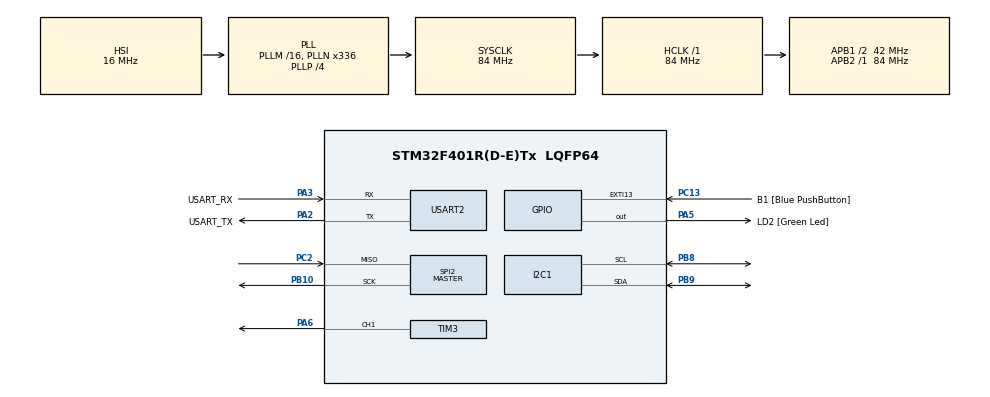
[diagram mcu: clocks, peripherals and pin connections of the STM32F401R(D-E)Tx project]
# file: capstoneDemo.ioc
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FREERTOS.Queues01=tempQueue,1,8,1,Dynamic,NULL,NULL;fanQueue,1,1,1,Dynamic,NULL,NULL
FREERTOS.Tasks01=defaultTask,24,128,StartDefaultTask,Default,NULL,Dynamic,NULL,NULL;readTempSensor,24,256,readTemp,Default,NULL,Dynamic,NULL,NULL;sysControlTask,32,256,sysControl,Default,NULL,Dynamic,NULL,NULL;setFanSpeed,24,192,setFan,Default,NULL,Dynamic,NULL,NULL
Mcu.Family=STM32F4
Mcu.Name=STM32F401R(D-E)Tx
Mcu.Package=LQFP64
NVIC.PriorityGroup=NVIC_PRIORITYGROUP_4
PA13.GPIO_Label=TMS
PA13.Mode=Trace_Asynchronous_SW
PA13.Signal=SYS_JTMS-SWDIO
PA14.GPIO_Label=TCK
PA14.Mode=Trace_Asynchronous_SW
PA14.Signal=SYS_JTCK-SWCLK
PA2.GPIO_Label=USART_TX
PA2.GPIO_Mode=GPIO_MODE_AF_PP
PA2.GPIO_PuPd=GPIO_NOPULL
PA2.GPIO_Speed=GPIO_SPEED_FREQ_LOW
PA2.Mode=Asynchronous
PA2.Signal=USART2_TX
PA3.GPIO_Label=USART_RX
PA3.GPIO_Mode=GPIO_MODE_AF_PP
PA3.GPIO_PuPd=GPIO_NOPULL
PA3.GPIO_Speed=GPIO_SPEED_FREQ_LOW
PA3.Mode=Asynchronous
PA3.Signal=USART2_RX
PA5.GPIO_Label=LD2 [Green Led]
PA5.GPIO_Mode=GPIO_MODE_OUTPUT_PP
PA5.GPIO_PuPd=GPIO_NOPULL
PA5.GPIO_Speed=GPIO_SPEED_FREQ_LOW
PA5.Signal=GPIO_Output
PA6.Signal=S_TIM3_CH1
PB10.Mode=RX_Only_Simplex_Unidirect_Master
PB10.Signal=SPI2_SCK
PB3.GPIO_Label=SWO
PB3.Mode=Trace_Asynchronous_SW
PB3.Signal=SYS_JTDO-SWO
PB8.Mode=I2C
PB8.Signal=I2C1_SCL
PB9.Mode=I2C
PB9.Signal=I2C1_SDA
PC13-ANTI_TAMP.GPIO_Label=B1 [Blue PushButton]
PC13-ANTI_TAMP.GPIO_ModeDefaultEXTI=GPIO_MODE_IT_FALLING
PC13-ANTI_TAMP.GPIO_PuPd=GPIO_NOPULL
PC13-ANTI_TAMP.Signal=GPXTI13
PC14-OSC32_IN.Mode=LSE-External-Oscillator
PC14-OSC32_IN.Signal=RCC_OSC32_IN
PC15-OSC32_OUT.Mode=LSE-External-Oscillator
PC15-OSC32_OUT.Signal=RCC_OSC32_OUT
PC2.Mode=RX_Only_Simplex_Unidirect_Master
PC2.Signal=SPI2_MISO
PH0\ -\ OSC_IN.Mode=HSE-External-Clock-Source
PH0\ -\ OSC_IN.Signal=RCC_OSC_IN
PH1\ -\ OSC_OUT.Mode=HSE-External-Clock-Source
PH1\ -\ OSC_OUT.Signal=RCC_OSC_OUT
ProjectManager.HeapSize=0x200
ProjectManager.StackSize=0x400
ProjectManager.TargetToolchain=STM32CubeIDE
RCC.48MHZClocksFreq_Value=48000000
RCC.AHBFreq_Value=84000000
RCC.APB1CLKDivider=RCC_HCLK_DIV2
RCC.APB1Freq_Value=42000000
RCC.APB1TimFreq_Value=84000000
RCC.APB2Freq_Value=84000000
RCC.APB2TimFreq_Value=84000000
RCC.CortexFreq_Value=84000000
RCC.HCLKFreq_Value=84000000
RCC.HSE_VALUE=8000000
RCC.HSI_VALUE=16000000
RCC.PLLN=336
RCC.PLLP=RCC_PLLP_DIV4
RCC.PLLQ=7
RCC.SYSCLKFreq_VALUE=84000000
RCC.SYSCLKSource=RCC_SYSCLKSOURCE_PLLCLK
RCC.VCOOutputFreq_Value=336000000
SH.S_TIM3_CH1.0=TIM3_CH1,PWM Generation1 CH1
SPI2.Direction=SPI_DIRECTION_2LINES_RXONLY
SPI2.Mode=SPI_MODE_MASTER
SPI2.VirtualType=VM_MASTER
TIM3.Channel-PWM\ Generation1\ CH1=TIM_CHANNEL_1
TIM3.Period=999
TIM3.Prescaler=83
USART2.VirtualMode=VM_ASYNC
VP_FREERTOS_VS_CMSIS_V2.Mode=CMSIS_V2
VP_TIM3_VS_ClockSourceINT.Mode=Internal
board=NUCLEO-F401RE

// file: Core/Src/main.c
/* USER CODE BEGIN Header */
/**
  ******************************************************************************
  * @file           : main.c
  * @brief          : Main program body
  ******************************************************************************
  * @attention
  *
  * Copyright (c) 2026 STMicroelectronics.
  * All rights reserved.
  *
  * This software is licensed under terms that can be found in the LICENSE file
  * in the root directory of this software component.
  * If no LICENSE file comes with this software, it is provided AS-IS.
  *
  ******************************************************************************
  */
/* USER CODE END Header */
#include "main.h"
#include "cmsis_os.h"

/* USER CODE BEGIN Includes */
#include "smartRack.h"
#include <stdio.h>

/* USER CODE END Includes */

I2C_HandleTypeDef hi2c1;

SPI_HandleTypeDef hspi2;

TIM_HandleTypeDef htim3;

UART_HandleTypeDef huart2;

/* Definitions for defaultTask */
osThreadId_t defaultTaskHandle;
const osThreadAttr_t defaultTask_attributes = {
  .name = "defaultTask",
  .stack_size = 128 * 4,
  .priority = (osPriority_t) osPriorityNormal,
};
/* Definitions for readTempSensor */
osThreadId_t readTempSensorHandle;
const osThreadAttr_t readTempSensor_attributes = {
  .name = "readTempSensor",
  .stack_size = 256 * 4,
  .priority = (osPriority_t) osPriorityNormal,
};
/* Definitions for sysControlTask */
osThreadId_t sysControlTaskHandle;
const osThreadAttr_t sysControlTask_attributes = {
  .name = "sysControlTask",
  .stack_size = 256 * 4,
  .priority = (osPriority_t) osPriorityAboveNormal,
};
/* Definitions for setFanSpeed */
osThreadId_t setFanSpeedHandle;
const osThreadAttr_t setFanSpeed_attributes = {
  .name = "setFanSpeed",
  .stack_size = 192 * 4,
  .priority = (osPriority_t) osPriorityNormal,
};
/* Definitions for tempQueue */
osMessageQueueId_t tempQueueHandle;
const osMessageQueueAttr_t tempQueue_attributes = {
  .name = "tempQueue"
};
/* Definitions for fanQueue */
osMessageQueueId_t fanQueueHandle;
const osMessageQueueAttr_t fanQueue_attributes = {
  .name = "fanQueue"
};
/* USER CODE BEGIN PV */
osMutexId_t i2cMutexHandle;

/* USER CODE END PV */

void SystemClock_Config(void);
static void MX_GPIO_Init(void);
static void MX_I2C1_Init(void);
static void MX_SPI2_Init(void);
static void MX_TIM3_Init(void);
static void MX_USART2_UART_Init(void);
void StartDefaultTask(void *argument);
void readTemp(void *argument);
void sysControl(void *argument);
void setFan(void *argument);

int main(void)
{

  /* MCU Configuration--------------------------------------------------------*/

  /* Reset of all peripherals, Initializes the Flash interface and the Systick. */
  HAL_Init();

  /* Configure the system clock */
  SystemClock_Config();

  /* Initialize all configured peripherals */
  MX_GPIO_Init();
  MX_I2C1_Init();
  MX_SPI2_Init();
  MX_TIM3_Init();
  MX_USART2_UART_Init();
  /* USER CODE BEGIN 2 */
  //Start TIM3 PWM prior to scheduler start
  HAL_TIM_PWM_Start(&htim3, TIM_CHANNEL_1);

  /* USER CODE END 2 */

  /* Init scheduler */
  osKernelInitialize();

  /* USER CODE BEGIN RTOS_MUTEX */
  /* add mutexes, ... */
  i2cMutexHandle = osMutexNew(NULL);

  if (i2cMutexHandle == NULL) {
      Error_Handler();
  }
  /* USER CODE END RTOS_MUTEX */

  /* Create the queue(s) */
  /* creation of tempQueue */
  tempQueueHandle = osMessageQueueNew (1, sizeof(tempData_t), &tempQueue_attributes);

  /* creation of fanQueue */
  fanQueueHandle = osMessageQueueNew (1, sizeof(fanCommand_t), &fanQueue_attributes);

  /* Create the thread(s) */
  /* creation of defaultTask */
  defaultTaskHandle = osThreadNew(StartDefaultTask, NULL, &defaultTask_attributes);

  /* creation of readTempSensor */
  readTempSensorHandle = osThreadNew(readTemp, NULL, &readTempSensor_attributes);

  /* creation of sysControlTask */
  sysControlTaskHandle = osThreadNew(sysControl, NULL, &sysControlTask_attributes);

  /* creation of setFanSpeed */
  setFanSpeedHandle = osThreadNew(setFan, NULL, &setFanSpeed_attributes);

  /* Start scheduler */
  osKernelStart();

  /* We should never get here as control is now taken by the scheduler */

  /* Infinite loop */
  while (1)
  {

  }
}

void SystemClock_Config(void)
{
  RCC_OscInitTypeDef RCC_OscInitStruct = {0};
  RCC_ClkInitTypeDef RCC_ClkInitStruct = {0};

  /** Configure the main internal regulator output voltage
  */
  __HAL_RCC_PWR_CLK_ENABLE();
  __HAL_PWR_VOLTAGESCALING_CONFIG(PWR_REGULATOR_VOLTAGE_SCALE2);

  /** Initializes the RCC Oscillators according to the specified parameters
  * in the RCC_OscInitTypeDef structure.
  */
  RCC_OscInitStruct.OscillatorType = RCC_OSCILLATORTYPE_HSI;
  RCC_OscInitStruct.HSIState = RCC_HSI_ON;
  RCC_OscInitStruct.HSICalibrationValue = RCC_HSICALIBRATION_DEFAULT;
  RCC_OscInitStruct.PLL.PLLState = RCC_PLL_ON;
  RCC_OscInitStruct.PLL.PLLSource = RCC_PLLSOURCE_HSI;
  RCC_OscInitStruct.PLL.PLLM = 16;
  RCC_OscInitStruct.PLL.PLLN = 336;
  RCC_OscInitStruct.PLL.PLLP = RCC_PLLP_DIV4;
  RCC_OscInitStruct.PLL.PLLQ = 7;
  if (HAL_RCC_OscConfig(&RCC_OscInitStruct) != HAL_OK)
  {
    Error_Handler();
  }

  /** Initializes the CPU, AHB and APB buses clocks
  */
  RCC_ClkInitStruct.ClockType = RCC_CLOCKTYPE_HCLK|RCC_CLOCKTYPE_SYSCLK
                              |RCC_CLOCKTYPE_PCLK1|RCC_CLOCKTYPE_PCLK2;
  RCC_ClkInitStruct.SYSCLKSource = RCC_SYSCLKSOURCE_PLLCLK;
  RCC_ClkInitStruct.AHBCLKDivider = RCC_SYSCLK_DIV1;
  RCC_ClkInitStruct.APB1CLKDivider = RCC_HCLK_DIV2;
  RCC_ClkInitStruct.APB2CLKDivider = RCC_HCLK_DIV1;

  if (HAL_RCC_ClockConfig(&RCC_ClkInitStruct, FLASH_LATENCY_2) != HAL_OK)
  {
    Error_Handler();
  }
}

static void MX_I2C1_Init(void)
{

  hi2c1.Instance = I2C1;
  hi2c1.Init.ClockSpeed = 100000;
  hi2c1.Init.DutyCycle = I2C_DUTYCYCLE_2;
  hi2c1.Init.OwnAddress1 = 0;
  hi2c1.Init.AddressingMode = I2C_ADDRESSINGMODE_7BIT;
  hi2c1.Init.DualAddressMode = I2C_DUALADDRESS_DISABLE;
  hi2c1.Init.OwnAddress2 = 0;
  hi2c1.Init.GeneralCallMode = I2C_GENERALCALL_DISABLE;
  hi2c1.Init.NoStretchMode = I2C_NOSTRETCH_DISABLE;
  if (HAL_I2C_Init(&hi2c1) != HAL_OK)
  {
    Error_Handler();
  }

}

static void MX_SPI2_Init(void)
{

  /* SPI2 parameter configuration*/
  hspi2.Instance = SPI2;
  hspi2.Init.Mode = SPI_MODE_MASTER;
  hspi2.Init.Direction = SPI_DIRECTION_2LINES_RXONLY;
  hspi2.Init.DataSize = SPI_DATASIZE_8BIT;
  hspi2.Init.CLKPolarity = SPI_POLARITY_LOW;
  hspi2.Init.CLKPhase = SPI_PHASE_1EDGE;
  hspi2.Init.NSS = SPI_NSS_SOFT;
  hspi2.Init.BaudRatePrescaler = SPI_BAUDRATEPRESCALER_2;
  hspi2.Init.FirstBit = SPI_FIRSTBIT_MSB;
  hspi2.Init.TIMode = SPI_TIMODE_DISABLE;
  hspi2.Init.CRCCalculation = SPI_CRCCALCULATION_DISABLE;
  hspi2.Init.CRCPolynomial = 10;
  if (HAL_SPI_Init(&hspi2) != HAL_OK)
  {
    Error_Handler();
  }

}

static void MX_TIM3_Init(void)
{

  TIM_ClockConfigTypeDef sClockSourceConfig = {0};
  TIM_MasterConfigTypeDef sMasterConfig = {0};
  TIM_OC_InitTypeDef sConfigOC = {0};

  htim3.Instance = TIM3;
  htim3.Init.Prescaler = 83;
  htim3.Init.CounterMode = TIM_COUNTERMODE_UP;
  htim3.Init.Period = 999;
  htim3.Init.ClockDivision = TIM_CLOCKDIVISION_DIV1;
  htim3.Init.AutoReloadPreload = TIM_AUTORELOAD_PRELOAD_DISABLE;
  if (HAL_TIM_Base_Init(&htim3) != HAL_OK)
  {
    Error_Handler();
  }
  sClockSourceConfig.ClockSource = TIM_CLOCKSOURCE_INTERNAL;
  if (HAL_TIM_ConfigClockSource(&htim3, &sClockSourceConfig) != HAL_OK)
  {
    Error_Handler();
  }
  if (HAL_TIM_PWM_Init(&htim3) != HAL_OK)
  {
    Error_Handler();
  }
  sMasterConfig.MasterOutputTrigger = TIM_TRGO_RESET;
  sMasterConfig.MasterSlaveMode = TIM_MASTERSLAVEMODE_DISABLE;
  if (HAL_TIMEx_MasterConfigSynchronization(&htim3, &sMasterConfig) != HAL_OK)
  {
    Error_Handler();
  }
  sConfigOC.OCMode = TIM_OCMODE_PWM1;
  sConfigOC.Pulse = 0;
  sConfigOC.OCPolarity = TIM_OCPOLARITY_HIGH;
  sConfigOC.OCFastMode = TIM_OCFAST_DISABLE;
  if (HAL_TIM_PWM_ConfigChannel(&htim3, &sConfigOC, TIM_CHANNEL_1) != HAL_OK)
  {
    Error_Handler();
  }
  HAL_TIM_MspPostInit(&htim3);

}

static void MX_USART2_UART_Init(void)
{

  huart2.Instance = USART2;
  huart2.Init.BaudRate = 115200;
  huart2.Init.WordLength = UART_WORDLENGTH_8B;
  huart2.Init.StopBits = UART_STOPBITS_1;
  huart2.Init.Parity = UART_PARITY_NONE;
  huart2.Init.Mode = UART_MODE_TX_RX;
  huart2.Init.HwFlowCtl = UART_HWCONTROL_NONE;
  huart2.Init.OverSampling = UART_OVERSAMPLING_16;
  if (HAL_UART_Init(&huart2) != HAL_OK)
  {
    Error_Handler();
  }

}

static void MX_GPIO_Init(void)
{
  GPIO_InitTypeDef GPIO_InitStruct = {0};

  /* GPIO Ports Clock Enable */
  __HAL_RCC_GPIOC_CLK_ENABLE();
  __HAL_RCC_GPIOH_CLK_ENABLE();
  __HAL_RCC_GPIOA_CLK_ENABLE();
  __HAL_RCC_GPIOB_CLK_ENABLE();

  /*Configure GPIO pin Output Level */
  HAL_GPIO_WritePin(LD2_GPIO_Port, LD2_Pin, GPIO_PIN_RESET);

  /*Configure GPIO pin : B1_Pin */
  GPIO_InitStruct.Pin = B1_Pin;
  GPIO_InitStruct.Mode = GPIO_MODE_IT_FALLING;
  GPIO_InitStruct.Pull = GPIO_NOPULL;
  HAL_GPIO_Init(B1_GPIO_Port, &GPIO_InitStruct);

  /*Configure GPIO pin : LD2_Pin */
  GPIO_InitStruct.Pin = LD2_Pin;
  GPIO_InitStruct.Mode = GPIO_MODE_OUTPUT_PP;
  GPIO_InitStruct.Pull = GPIO_NOPULL;
  GPIO_InitStruct.Speed = GPIO_SPEED_FREQ_LOW;
  HAL_GPIO_Init(LD2_GPIO_Port, &GPIO_InitStruct);

}

void StartDefaultTask(void *argument)
{
  for(;;)
  {
    osDelay(1);
  }
}

void readTemp(void *argument)
{
  /* USER CODE BEGIN readTemp */
  tempData_t sample;
  /* Infinite loop */
  for(;;)
  {
	//Read temp
	sample.valid = readTempData(&sample.temp);
	//TEST CODE
	if (sample.valid) {
	    char msg[64];

	    int len = snprintf(msg, sizeof(msg),
	                       "Temperature: %.2f C\r\n",
	                       sample.temp);

	    if (len > 0) {
	        HAL_UART_Transmit(&huart2,
	                          (uint8_t *)msg,
	                          len,
	                          100);
	    }
	}
	else {
	    char msg[] = "I2C READ FAILED\r\n";

	    HAL_UART_Transmit(&huart2,
	                      (uint8_t *)msg,
	                      sizeof(msg) - 1,
	                      100);
	}
	//TEST CODE END

	//PRINT RECEIVED TEMP TO SERIAL TERMINAL
	if (sample.valid) {
	    char msg[64];
	    int len = snprintf(msg, sizeof(msg), "Temperature: %.2f\n", sample.temp);
	    if (len > 0) {
	        HAL_UART_Transmit(&huart2, (uint8_t *)msg,
	                          (len < sizeof(msg)) ? len : sizeof(msg) - 1, 100);
	    }
	}
	//END PRINT

	//send to control task
	osMessageQueuePut(tempQueueHandle, &sample, 0U, 10U);

	//sample every 500 ms
    osDelay(500);
  }
  /* USER CODE END readTemp */
}

void sysControl(void *argument)
{
  /* USER CODE BEGIN sysControl */
  tempData_t sample;
  fanCommand_t fanSpeed;
  /* Infinite loop */
  for(;;)
  {
	//Receive temp from tempQueue
	if(osMessageQueueGet(tempQueueHandle, &sample, NULL, 700U) == osOK){
		//Invalid sensor reading: max cooling
		if(!sample.valid){
		    fanSpeed = 100;
		}

		//Baseline fan control
		else if(sample.temp < 24){
			fanSpeed = 0;
		}
		else if(sample.temp < 26){
			fanSpeed = 30;
		}
		else if(sample.temp < 28){
			fanSpeed = 60;
		}
		else if(sample.temp < 30){
			fanSpeed = 80;
		}
		else{fanSpeed = 100;}

	}
	else{fanSpeed = 100;} //No recent measurement

	//Send fan speed to fan control task
	osMessageQueuePut(fanQueueHandle, &fanSpeed, 0U, 10U);
  }
  /* USER CODE END sysControl */
}

void setFan(void *argument)
{
  /* USER CODE BEGIN setFan */
  fanCommand_t fanSpeed;
  uint32_t pwmValue;

  /* Infinite loop */
  for(;;)
  {
	//Receive fan command
	if(osMessageQueueGet(fanQueueHandle, &fanSpeed, NULL, osWaitForever) == osOK){
		//Limit command to 0-100
		if(fanSpeed > 100){
			fanSpeed = 100;
		}
		//Convert percentage to PWM value
		pwmValue = ((htim3.Init.Period + 1U) * fanSpeed) / 100U;

		//apply pwm value
		__HAL_TIM_SET_COMPARE(&htim3, TIM_CHANNEL_1, pwmValue);
		//SEND FAN SPEED TO ESP32
		// Acquire mutex before I2C transmission
		if (osMutexAcquire(i2cMutexHandle, osWaitForever) == osOK) {

		    // Send fan speed percentage to ESP32
		    HAL_StatusTypeDef status = HAL_I2C_Master_Transmit(
		        &hi2c1,
		        TEMPSENSOR_ADDR,
		        &fanSpeed,
		        1,
		        100
		    );

		    // Release mutex
		    osMutexRelease(i2cMutexHandle);

		    // Check transmission status
		    if (status != HAL_OK) {
		        // I2C transmission failed
		    }
		}
		//END SEND FAN SPEED
		//HAL_I2C_Master_Transmit(&hi2c1, TEMPSENSOR_ADDR, &fanSpeed, 1, 100);
	}
  }
  /* USER CODE END setFan */
}

void Error_Handler(void)
{
  __disable_irq();
  while (1)
  {
  }
}
